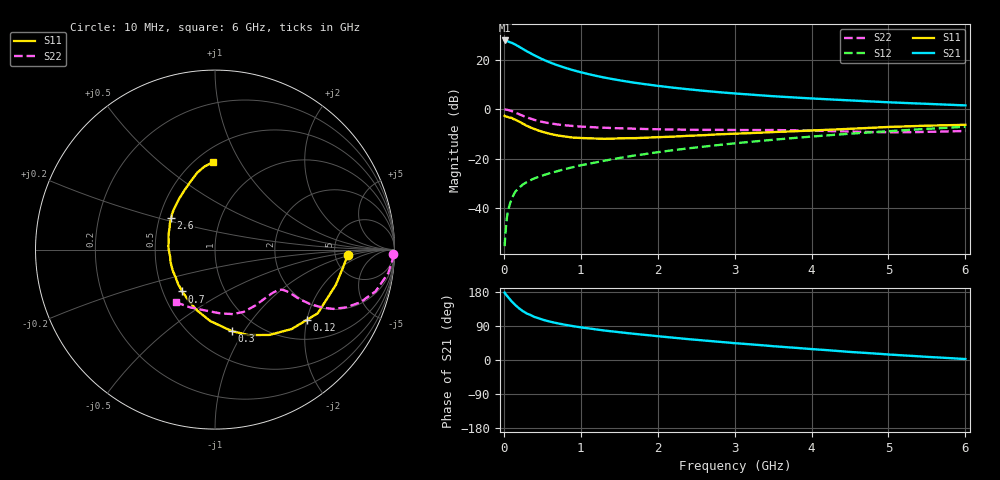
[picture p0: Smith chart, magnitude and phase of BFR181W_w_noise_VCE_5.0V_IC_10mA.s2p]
! Infineon Technologies  Discrete & RF Semiconductors
! BFR181W
! VCE =  5.0 V,  IC =  10 mA
! Common Emitter S-Parameters:  Jan 2017
# GHz  S  MA  R  50
!  f  S11  S21  S12  S22
! GHz  MAG  ANG  MAG  ANG  MAG  ANG  MAG  ANG
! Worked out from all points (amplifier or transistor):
!   77 points, 10 MHz to 6 GHz, reference 50 ohm
!   highest |S21| = 27.9 dB at 10 MHz (marker M1)
!   |S21| within 3 dB of that: start of sweep to 223.4 MHz
!   unconditionally stable (mu >= 1): 1.017 GHz to 2.972 GHz
!   at 130 MHz: K = 0.27, MSG = 30.5 dB, |S12| = -34.4 dB
!   at 2.2 GHz: K = 1.05, MAG = 11.2 dB, |S12| = -16.5 dB
!   at 6 GHz: K = 0.85, MSG = 4.3 dB, |S12| = -7.1 dB
!   lowest NFmin = 1.24 dB at 450 MHz
!   S11 on the Smith chart (normalised r, x): 10 MHz: 6.54, -0.93; 120 MHz: 1.50, -2.01; 300 MHz: 0.76, -0.88; 700 MHz: 0.63, -0.32; 2.6 GHz: 0.58, +0.22; 6 GHz: 0.61, +0.77
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0.01  0.7395 -2.5  24.8 177.8  0.0017 94.1  0.9926 -1.4
0.02  0.7206 -7.8  24.39 174.4  0.0029 88.7  0.9926 -2.9
0.05  0.7016 -16.2  23.87 167.1  0.0081 80.2  0.9743 -7.7
0.1  0.6735 -31.8  22.35 155.1  0.0151 76.4  0.9242 -14.6
0.12  0.6453 -37.2  21.52 151.2  0.0177 73.6  0.8979 -16.7
0.15  0.615 -46.1  20.48 144.8  0.0216 70.7  0.8607 -20.0
0.2  0.5627 -57.7  18.43 135.9  0.0261 66.8  0.7957 -23.9
0.25  0.5107 -68.8  16.61 128.6  0.0304 63.6  0.738 -26.6
0.3  0.4634 -78.4  14.93 122.6  0.0337 62.3  0.6861 -28.2
0.4  0.399 -93.8  12.31 113.4  0.0403 61.4  0.6098 -29.8
0.5  0.3517 -107.0  10.34 106.7  0.0456 61.5  0.5574 -30.3
0.6  0.3185 -117.9  8.899 101.2  0.0511 62.4  0.5211 -30.3
0.7  0.296 -128.1  7.771 96.7  0.0562 63.5  0.4945 -30.1
0.9  0.268 -145.0  6.202 89.3  0.0676 64.6  0.4605 -30.2
1.1  0.2594 -159.0  5.167 83.5  0.079 66.3  0.4399 -30.7
1.5  0.2583 179.8  3.878 73.4  0.1034 67.3  0.4138 -33.5
2.1  0.2765 157.6  2.866 60.9  0.1422 66.6  0.3928 -41.4
2.6  0.3002 144.5  2.37 51.5  0.176 65.1  0.3846 -49.9
3.1  0.3257 133.2  2.045 43.0  0.2123 62.6  0.3816 -58.7
4.1  0.3787 115.3  1.631 27.4  0.2888 56.2  0.3688 -76.5
5.1  0.445 101.8  1.369 13.3  0.3692 47.9  0.3431 -101.9
6  0.4865 91.4  1.202 2.5  0.4438 39.5  0.3657 -126.7
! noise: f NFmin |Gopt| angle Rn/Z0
0.45  1.24  0.15  16  0.21
0.9  1.29  0.14  31  0.21
1.9  1.71  0.03  142  0.2
2.4  1.88  0.02  -166  0.24
